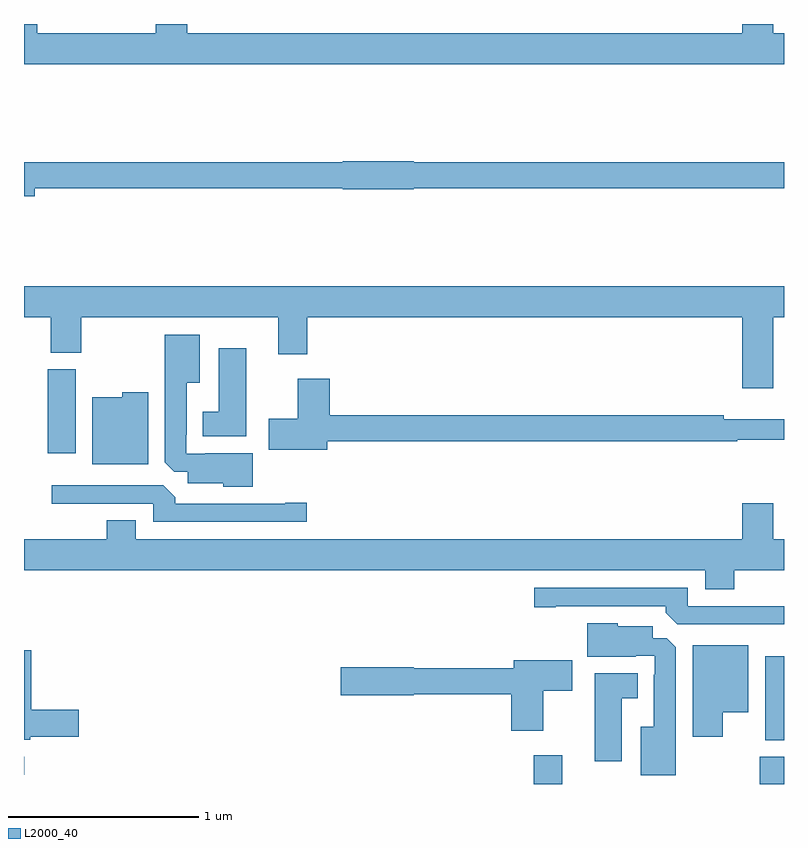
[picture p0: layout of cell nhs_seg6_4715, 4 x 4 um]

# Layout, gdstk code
import gdstk
lib = gdstk.Library(unit=1e-6, precision=1e-09)
def R(c, l, rs):  # rectangles x0, y0, x1, y1
    for r in rs: c.add(gdstk.rectangle(r[:2], r[2:], *l))
def P(c, l, *ps):  # polygons
    for p in ps: c.add(gdstk.Polygon(p, *l))
L2000_40 = (2000, 40)

nhs_seg6_4715 = lib.new_cell('nhs_seg6_4715')
R(nhs_seg6_4715, L2000_40, [(391.682,991.5,391.834,991.651), (392.872,991.5,393,991.644), (389,991.548,389.002,991.644), (392.9,991.729,393,992.173), (389.126,993.24,389.272,993.684)])
P(nhs_seg6_4715, L2000_40, [(393,995.452),(392.944,995.452),(392.944,995.5),(392.78,995.5),(392.78,995.452),(389.858,995.452),(389.858,995.5),(389.693,995.5),(389.693,995.452),(389.069,995.452),(389.069,995.5),(389,995.5),(389,995.288),(393,995.288)],
  [(389.056,994.636),(390.678,994.636),(390.678,994.631),(391.05,994.631),(391.05,994.636),(393,994.636),(393,994.772),(391.05,994.772),(391.05,994.778),(390.678,994.778),(390.678,994.772),(389,994.772),(389,994.594),(389.056,994.594)],
  [(392.944,993.956),(393,993.956),(393,994.12),(389,994.12),(389,993.956),(389.141,993.956),(389.141,993.769),(389.301,993.769),(389.301,993.956),(390.338,993.956),(390.338,993.762),(390.491,993.762),(390.491,993.956),(392.78,993.956),(392.78,993.582),(392.944,993.582)],
  [(390.205,993.241),(389.953,993.241),(389.953,993.237),(389.853,993.237),(389.853,993.337),(389.857,993.337),(389.857,993.611),(389.926,993.611),(389.926,993.865),(389.741,993.865),(389.741,993.193),(389.79,993.144),(389.861,993.144),(389.861,993.083),(390.048,993.083),(390.048,993.065),(390.205,993.065)],
  [(390.169,993.793),(390.026,993.793),(390.026,993.46),(389.942,993.46),(389.942,993.329),(390.169,993.329)],
  [(390.595,993.304),(392.753,993.304),(392.753,993.312),(393,993.312),(393,993.421),(392.684,993.421),(392.684,993.44),(390.608,993.44),(390.608,993.634),(390.44,993.634),(390.44,993.423),(390.288,993.423),(390.288,993.26),(390.595,993.26)],
  [(389.653,993.562),(389.517,993.562),(389.517,993.535),(389.36,993.535),(389.36,993.182),(389.653,993.182)],
  [(390.487,992.981),(390.374,992.981),(390.374,992.976),(389.795,992.976),(389.795,993.01),(389.733,993.072),(389.145,993.072),(389.145,992.976),(389.679,992.976),(389.679,992.88),(390.487,992.88)],
  [(392.585,992.525),(392.738,992.525),(392.738,992.624),(393,992.624),(393,992.788),(392.944,992.788),(392.944,992.977),(392.78,992.977),(392.78,992.788),(389.587,992.788),(389.587,992.887),(389.435,992.887),(389.435,992.788),(389,992.788),(389,992.624),(392.585,992.624)],
  [(393,992.436),(392.493,992.436),(392.493,992.532),(391.686,992.532),(391.686,992.431),(391.798,992.431),(391.798,992.436),(392.378,992.436),(392.378,992.402),(392.439,992.34),(393,992.34)],
  [(392.431,992.219),(392.382,992.268),(392.308,992.268),(392.308,992.329),(392.124,992.329),(392.124,992.347),(391.964,992.347),(391.964,992.171),(392.219,992.171),(392.219,992.175),(392.319,992.175),(392.319,992.075),(392.315,992.075),(392.315,991.801),(392.246,991.801),(392.246,991.547),(392.431,991.547)],
  [(392.677,991.877),(392.812,991.877),(392.812,992.23),(392.519,992.23),(392.519,991.749),(392.677,991.749)],
  [(389.034,991.75),(389.287,991.75),(389.287,991.892),(389.038,991.892),(389.038,992.203),(389,992.203),(389,991.733),(389.034,991.733)],
  [(391.732,991.99),(391.885,991.99),(391.885,992.152),(391.577,992.152),(391.577,992.108),(391.05,992.108),(391.05,992.114),(390.666,992.114),(390.666,991.967),(391.05,991.967),(391.05,991.972),(391.565,991.972),(391.565,991.779),(391.732,991.779)],
  [(392.146,991.952),(392.23,991.952),(392.23,992.083),(392.003,992.083),(392.003,991.62),(392.146,991.62)])

lib.write_gds('nhs_seg6_4715.gds')
